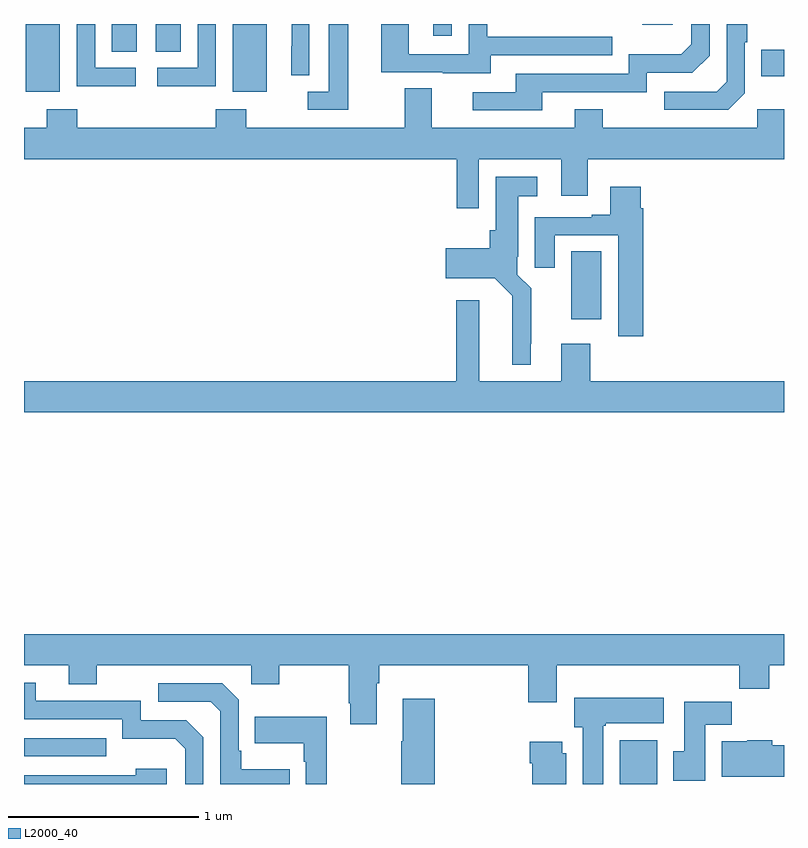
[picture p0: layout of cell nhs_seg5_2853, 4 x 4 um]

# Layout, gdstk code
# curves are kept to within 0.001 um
import gdstk
lib = gdstk.Library(unit=1e-6, precision=1e-09)
def R(c, l, rs):  # rectangles x0, y0, x1, y1
    for r in rs: c.add(gdstk.rectangle(r[:2], r[2:], *l))
def P(c, l, *ps):  # polygons
    for p in ps: c.add(gdstk.Polygon(p, *l))
L2000_40 = (2000, 40)

nhs_seg5_2853 = lib.new_cell('nhs_seg5_2853')
R(nhs_seg5_2853, L2000_40, [(280.136,858.799,280.333,859.03), (277,858.945,277.433,859.041), (279.881,861.246,280.039,861.602), (277.01,862.442,277.189,862.799), (278.099,862.442,278.278,862.799), (280.879,862.523,281,862.663), (277.463,862.654,277.594,862.799), (277.694,862.654,277.825,862.799), (279.155,862.737,279.252,862.799), (280.253,862.796,280.414,862.799)])
P(nhs_seg5_2853, L2000_40, [(279.457,862.635),(280.097,862.635),(280.097,862.731),(279.438,862.731),(279.438,862.799),(279.342,862.799),(279.342,862.641),(279.024,862.641),(279.024,862.799),(278.879,862.799),(278.879,862.545),(279.203,862.545),(279.203,862.541),(279.457,862.541)],
  [(280.794,862.434),(280.794,862.703),(280.807,862.703),(280.807,862.799),(280.698,862.799),(280.698,862.494),(280.647,862.443),(280.371,862.443),(280.371,862.347),(280.707,862.347)],
  [(277.588,862.569),(277.374,862.569),(277.374,862.799),(277.278,862.799),(277.278,862.471),(277.588,862.471)],
  [(278.01,862.799),(277.914,862.799),(277.914,862.569),(277.701,862.569),(277.701,862.471),(278.01,862.471)],
  [(278.502,862.799),(278.408,862.799),(278.408,862.682),(278.406,862.682),(278.406,862.528),(278.502,862.528)],
  [(278.707,862.799),(278.603,862.799),(278.603,862.443),(278.493,862.443),(278.493,862.347),(278.707,862.347)],
  [(279.727,862.44),(280.278,862.44),(280.278,862.542),(280.518,862.542),(280.608,862.632),(280.608,862.799),(280.512,862.799),(280.512,862.692),(280.459,862.639),(280.182,862.639),(280.182,862.536),(279.587,862.536),(279.587,862.44),(279.363,862.44),(279.363,862.344),(279.727,862.344)],
  [(279.393,862.088),(279.827,862.088),(279.827,861.894),(279.967,861.894),(279.967,862.088),(281,862.088),(281,862.351),(280.86,862.351),(280.86,862.252),(280.047,862.252),(280.047,862.351),(279.899,862.351),(279.899,862.252),(279.145,862.252),(279.145,862.46),(279.005,862.46),(279.005,862.252),(278.169,862.252),(278.169,862.351),(278.009,862.351),(278.009,862.252),(277.28,862.252),(277.28,862.351),(277.12,862.351),(277.12,862.252),(277,862.252),(277,862.088),(279.277,862.088),(279.277,861.828),(279.393,861.828)],
  [(279.667,861.115),(279.67,861.115),(279.67,861.407),(279.597,861.48),(279.597,861.574),(279.601,861.574),(279.601,861.893),(279.7,861.893),(279.7,861.994),(279.482,861.994),(279.482,861.714),(279.452,861.714),(279.452,861.619),(279.219,861.619),(279.219,861.461),(279.477,861.461),(279.57,861.368),(279.569,861.005),(279.667,861.005)],
  [(280.259,861.83),(280.246,861.83),(280.246,861.943),(280.085,861.943),(280.085,861.796),(279.989,861.796),(279.989,861.783),(279.689,861.783),(279.689,861.516),(279.793,861.516),(279.793,861.687),(280.127,861.687),(280.127,861.156),(280.259,861.156)],
  [(281,860.92),(279.98,860.92),(279.98,861.115),(279.827,861.115),(279.827,860.92),(279.397,860.92),(279.397,861.346),(279.275,861.346),(279.275,860.92),(277,860.92),(277,860.756),(281,860.756)],
  [(278.857,859.328),(278.87,859.328),(278.87,859.424),(279.653,859.424),(279.653,859.23),(279.805,859.23),(279.805,859.424),(280.765,859.424),(280.765,859.3),(280.922,859.3),(280.922,859.424),(281,859.424),(281,859.588),(277,859.588),(277,859.424),(277.235,859.424),(277.235,859.325),(277.383,859.325),(277.383,859.424),(278.196,859.424),(278.196,859.325),(278.343,859.325),(278.343,859.424),(278.71,859.424),(278.71,859.225),(278.717,859.225),(278.717,859.113),(278.857,859.113)],
  [(277.944,859.044),(277.854,859.134),(277.614,859.134),(277.614,859.236),(277.063,859.236),(277.063,859.332),(277,859.332),(277,859.14),(277.518,859.14),(277.518,859.037),(277.795,859.037),(277.848,858.984),(277.848,858.799),(277.944,858.799)],
  [(278.399,858.877),(278.143,858.877),(278.143,858.973),(278.13,858.973),(278.13,859.242),(278.043,859.329),(277.707,859.329),(277.707,859.233),(277.983,859.233),(278.034,859.182),(278.034,858.799),(278.399,858.799)],
  [(280.048,859.105),(280.062,859.105),(280.062,859.118),(280.366,859.118),(280.366,859.252),(279.896,859.252),(279.896,859.098),(279.941,859.098),(279.941,858.799),(280.048,858.799)],
  [(279.161,859.249),(278.993,859.249),(278.993,859.025),(278.986,859.025),(278.986,858.799),(279.161,858.799)],
  [(280.585,859.112),(280.724,859.112),(280.724,859.231),(280.475,859.231),(280.475,858.972),(280.418,858.972),(280.418,858.816),(280.585,858.816)],
  [(278.593,859.153),(278.215,859.153),(278.215,859.013),(278.472,859.013),(278.472,858.917),(278.484,858.917),(278.484,858.799),(278.593,858.799)],
  [(281,859.002),(280.937,859.002),(280.937,859.03),(280.806,859.03),(280.806,859.024),(280.673,859.024),(280.673,858.836),(281,858.836)],
  [(279.853,858.96),(279.832,858.96),(279.832,859.021),(279.662,859.021),(279.662,858.908),(279.674,858.908),(279.674,858.799),(279.853,858.799)],
  [(277.75,858.88),(277.589,858.88),(277.589,858.846),(277,858.846),(277,858.799),(277.75,858.799)])

lib.write_gds('nhs_seg5_2853.gds')
